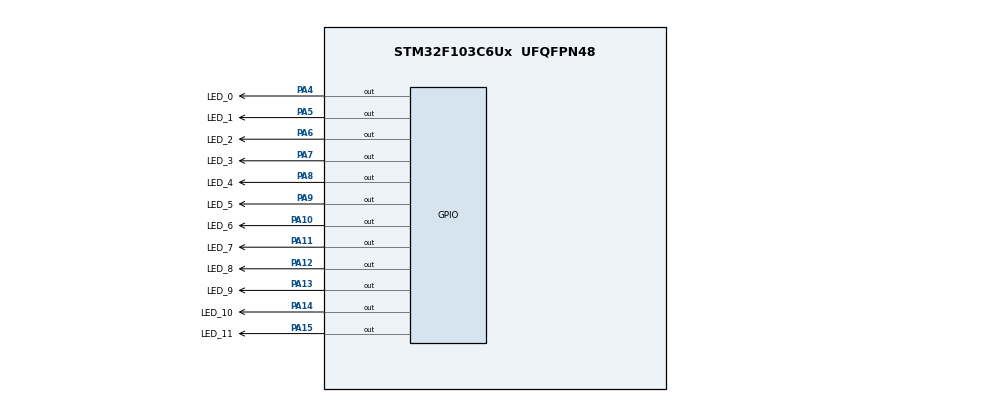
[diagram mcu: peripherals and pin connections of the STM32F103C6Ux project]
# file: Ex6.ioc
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Mcu.Family=STM32F1
Mcu.Name=STM32F103C6Ux
Mcu.Package=UFQFPN48
NVIC.PriorityGroup=NVIC_PRIORITYGROUP_4
PA10.GPIO_Label=LED_6
PA10.Signal=GPIO_Output
PA11.GPIO_Label=LED_7
PA11.Signal=GPIO_Output
PA12.GPIO_Label=LED_8
PA12.Signal=GPIO_Output
PA13.GPIO_Label=LED_9
PA13.Signal=GPIO_Output
PA14.GPIO_Label=LED_10
PA14.Signal=GPIO_Output
PA15.GPIO_Label=LED_11
PA15.Signal=GPIO_Output
PA4.GPIO_Label=LED_0
PA4.Signal=GPIO_Output
PA5.GPIO_Label=LED_1
PA5.Signal=GPIO_Output
PA6.GPIO_Label=LED_2
PA6.Signal=GPIO_Output
PA7.GPIO_Label=LED_3
PA7.Signal=GPIO_Output
PA8.GPIO_Label=LED_4
PA8.Signal=GPIO_Output
PA9.GPIO_Label=LED_5
PA9.Signal=GPIO_Output
ProjectManager.HeapSize=0x200
ProjectManager.StackSize=0x400
ProjectManager.TargetToolchain=STM32CubeIDE
RCC.APB1Freq_Value=8000000
RCC.APB2Freq_Value=8000000
VP_SYS_VS_ND.Mode=No_Debug
board=custom

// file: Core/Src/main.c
/* USER CODE BEGIN Header */
/**
  ******************************************************************************
  * @file           : main.c
  * @brief          : Main program body
  ******************************************************************************
  * @attention
  *
  * <h2><center>&copy; Copyright (c) 2023 STMicroelectronics.
  * All rights reserved.</center></h2>
  *
  * This software component is licensed by ST under BSD 3-Clause license,
  * the "License"; You may not use this file except in compliance with the
  * License. You may obtain a copy of the License at:
  *                        opensource.org/licenses/BSD-3-Clause
  *
  ******************************************************************************
  */
/* USER CODE END Header */
#include "main.h"

void SystemClock_Config(void);
static void MX_GPIO_Init(void);

int main(void)
{

  /* MCU Configuration--------------------------------------------------------*/

  /* Reset of all peripherals, Initializes the Flash interface and the Systick. */
  HAL_Init();

  /* Configure the system clock */
  SystemClock_Config();

  /* Initialize all configured peripherals */
  MX_GPIO_Init();

  /* Infinite loop */
  /* USER CODE BEGIN WHILE */
  void clearAllClock(){
  		HAL_GPIO_WritePin ( LED_0_GPIO_Port , LED_0_Pin ,SET ) ;
  		HAL_GPIO_WritePin ( LED_1_GPIO_Port , LED_1_Pin ,SET ) ;
  		HAL_GPIO_WritePin ( LED_2_GPIO_Port , LED_2_Pin ,SET ) ;
  		HAL_GPIO_WritePin ( LED_3_GPIO_Port , LED_3_Pin ,SET ) ;
  		HAL_GPIO_WritePin ( LED_4_GPIO_Port , LED_4_Pin ,SET ) ;
  		HAL_GPIO_WritePin ( LED_5_GPIO_Port , LED_5_Pin ,SET ) ;
  		HAL_GPIO_WritePin ( LED_6_GPIO_Port , LED_6_Pin ,SET ) ;
  		HAL_GPIO_WritePin ( LED_7_GPIO_Port , LED_7_Pin ,SET ) ;
  		HAL_GPIO_WritePin ( LED_8_GPIO_Port , LED_8_Pin ,SET ) ;
  		HAL_GPIO_WritePin ( LED_9_GPIO_Port , LED_9_Pin ,SET ) ;
  		HAL_GPIO_WritePin ( LED_10_GPIO_Port , LED_10_Pin ,SET ) ;
  		HAL_GPIO_WritePin ( LED_11_GPIO_Port , LED_11_Pin ,SET ) ;
    }
  void displayNumber(int num){
  	  switch(num){
  	  case 0:
  		  HAL_GPIO_WritePin ( LED_0_GPIO_Port , LED_0_Pin ,RESET ) ;
  		  break;
  	  case 1:
  		  HAL_GPIO_WritePin ( LED_1_GPIO_Port , LED_1_Pin ,RESET ) ;
  		  break;
  	  case 2:
  		  HAL_GPIO_WritePin ( LED_2_GPIO_Port , LED_2_Pin ,RESET ) ;
  		  break;
  	  case 3:
  		  HAL_GPIO_WritePin ( LED_3_GPIO_Port , LED_3_Pin ,RESET ) ;
  		  break;
  	  case 4:
  		  HAL_GPIO_WritePin ( LED_4_GPIO_Port , LED_4_Pin ,RESET ) ;
  		  break;
  	  case 5:
  		  HAL_GPIO_WritePin ( LED_5_GPIO_Port , LED_5_Pin ,RESET ) ;
  		  break;
  	  case 6:
  		  HAL_GPIO_WritePin ( LED_6_GPIO_Port , LED_6_Pin ,RESET ) ;
  		  break;
  	  case 7:
  		  HAL_GPIO_WritePin ( LED_7_GPIO_Port , LED_7_Pin ,RESET ) ;
  		  break;
  	  case 8:
  		  HAL_GPIO_WritePin ( LED_8_GPIO_Port , LED_8_Pin ,RESET ) ;
  		  break;
  	  case 9:
  		  HAL_GPIO_WritePin ( LED_9_GPIO_Port , LED_9_Pin ,RESET ) ;
  		  break;
  	  case 10:
  		  HAL_GPIO_WritePin ( LED_10_GPIO_Port , LED_10_Pin ,RESET ) ;
  		  break;
  	  case 11:
  		  HAL_GPIO_WritePin ( LED_11_GPIO_Port , LED_11_Pin ,RESET ) ;
  		  break;
  	  }
    }
  clearAllClock();
  int count = 0;
    while (1)
    {
      /* USER CODE END WHILE */
    	if(count > 11){
    		clearAllClock();
    		count = 0;
    	}
    	displayNumber(count);
    	count++;
    	HAL_Delay(1000);
    }
}

void SystemClock_Config(void)
{
  RCC_OscInitTypeDef RCC_OscInitStruct = {0};
  RCC_ClkInitTypeDef RCC_ClkInitStruct = {0};

  /** Initializes the RCC Oscillators according to the specified parameters
  * in the RCC_OscInitTypeDef structure.
  */
  RCC_OscInitStruct.OscillatorType = RCC_OSCILLATORTYPE_HSI;
  RCC_OscInitStruct.HSIState = RCC_HSI_ON;
  RCC_OscInitStruct.HSICalibrationValue = RCC_HSICALIBRATION_DEFAULT;
  RCC_OscInitStruct.PLL.PLLState = RCC_PLL_NONE;
  if (HAL_RCC_OscConfig(&RCC_OscInitStruct) != HAL_OK)
  {
    Error_Handler();
  }
  /** Initializes the CPU, AHB and APB buses clocks
  */
  RCC_ClkInitStruct.ClockType = RCC_CLOCKTYPE_HCLK|RCC_CLOCKTYPE_SYSCLK
                              |RCC_CLOCKTYPE_PCLK1|RCC_CLOCKTYPE_PCLK2;
  RCC_ClkInitStruct.SYSCLKSource = RCC_SYSCLKSOURCE_HSI;
  RCC_ClkInitStruct.AHBCLKDivider = RCC_SYSCLK_DIV1;
  RCC_ClkInitStruct.APB1CLKDivider = RCC_HCLK_DIV1;
  RCC_ClkInitStruct.APB2CLKDivider = RCC_HCLK_DIV1;

  if (HAL_RCC_ClockConfig(&RCC_ClkInitStruct, FLASH_LATENCY_0) != HAL_OK)
  {
    Error_Handler();
  }
}

static void MX_GPIO_Init(void)
{
  GPIO_InitTypeDef GPIO_InitStruct = {0};

  /* GPIO Ports Clock Enable */
  __HAL_RCC_GPIOA_CLK_ENABLE();

  /*Configure GPIO pin Output Level */
  HAL_GPIO_WritePin(GPIOA, LED_0_Pin|LED_1_Pin|LED_2_Pin|LED_3_Pin
                          |LED_4_Pin|LED_5_Pin|LED_6_Pin|LED_7_Pin
                          |LED_8_Pin|LED_9_Pin|LED_10_Pin|LED_11_Pin, GPIO_PIN_RESET);

  /*Configure GPIO pins : LED_0_Pin LED_1_Pin LED_2_Pin LED_3_Pin
                           LED_4_Pin LED_5_Pin LED_6_Pin LED_7_Pin
                           LED_8_Pin LED_9_Pin LED_10_Pin LED_11_Pin */
  GPIO_InitStruct.Pin = LED_0_Pin|LED_1_Pin|LED_2_Pin|LED_3_Pin
                          |LED_4_Pin|LED_5_Pin|LED_6_Pin|LED_7_Pin
                          |LED_8_Pin|LED_9_Pin|LED_10_Pin|LED_11_Pin;
  GPIO_InitStruct.Mode = GPIO_MODE_OUTPUT_PP;
  GPIO_InitStruct.Pull = GPIO_NOPULL;
  GPIO_InitStruct.Speed = GPIO_SPEED_FREQ_LOW;
  HAL_GPIO_Init(GPIOA, &GPIO_InitStruct);

}

void Error_Handler(void)
{
  __disable_irq();
  while (1)
  {
  }
}

/************************ (C) COPYRIGHT STMicroelectronics *****END OF FILE****/
